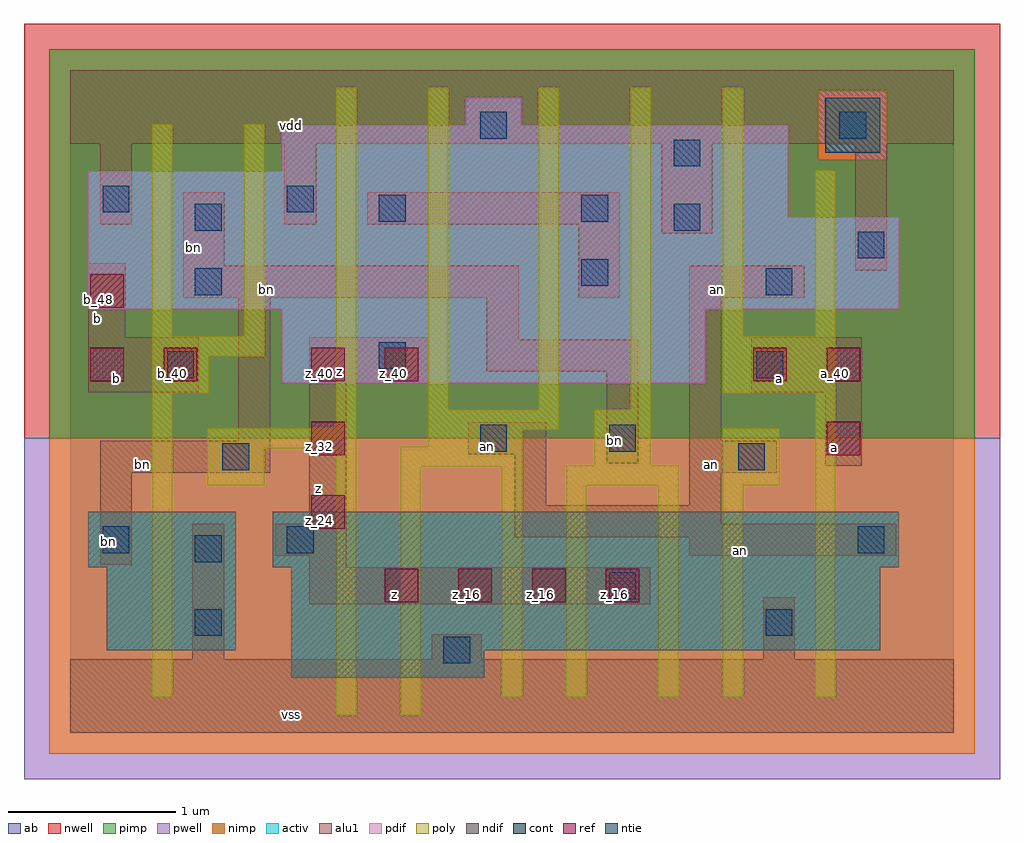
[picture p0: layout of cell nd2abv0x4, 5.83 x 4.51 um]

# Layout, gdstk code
import gdstk
lib = gdstk.Library(unit=1e-6, precision=2.5e-09)
def R(c, l, rs):  # rectangles x0, y0, x1, y1
    for r in rs: c.add(gdstk.rectangle(r[:2], r[2:], *l))
def A(c, l, x, y, w, h, nx, ny, dx, dy):  # array of equal rectangles
    R(c, l, [(x+i*dx, y+j*dy, x+i*dx+w, y+j*dy+h) for i in range(nx) for j in range(ny)])
ndif = (3, 0)
pdif = (4, 0)
ntie = (5, 0)
ref = (24, 0)
cont = (25, 0)
pwell = (41, 0)
nwell = (42, 0)
activ = (43, 0)
pimp = (44, 0)
nimp = (45, 0)
poly = (46, 0)
alu1 = (49, 0)
ab = (63, 0)

nd2abv0x4 = lib.new_cell('nd2abv0x4')
R(nd2abv0x4, ndif, [(1.32,0.33,2.475,0.495), (0.22,0.495,0.99,0.99), (1.32,0.495,4.84,0.99), (0.11,0.99,0.99,1.32), (1.21,0.99,4.95,1.32)])
R(nd2abv0x4, pdif, [(1.265,2.09,3.795,2.53), (0.11,2.53,4.95,3.08), (0.11,3.08,4.29,3.355), (1.265,3.355,4.29,3.63), (2.365,3.63,2.695,3.795)])
R(nd2abv0x4, ntie, [(4.51,3.465,4.84,3.795)])
A(nd2abv0x4, ref, 1.88, 0.78, 0.2, 0.2, 4, 1, 0.44, 0)
A(nd2abv0x4, ref, 1.44, 1.22, 0.2, 0.2, 1, 3, 0, 0.44)
R(nd2abv0x4, ref, [(4.52,1.66,4.72,1.86), (0.12,2.1,0.32,2.3), (0.56,2.1,0.76,2.3), (1.88,2.1,2.08,2.3), (4.08,2.1,4.28,2.3), (4.52,2.1,4.72,2.3), (0.12,2.54,0.32,2.74)])
R(nd2abv0x4, cont, [(2.23,0.415,2.39,0.575), (0.745,0.58,0.905,0.74), (4.155,0.58,4.315,0.74), (3.22,0.8,3.38,0.96), (0.745,1.02,0.905,1.18), (0.195,1.075,0.355,1.235), (1.295,1.075,1.455,1.235), (4.705,1.075,4.865,1.235), (0.91,1.57,1.07,1.73), (3.99,1.57,4.15,1.73), (2.45,1.68,2.61,1.84), (3.22,1.68,3.38,1.84), (0.58,2.12,0.74,2.28), (4.1,2.12,4.26,2.28), (1.845,2.175,2.005,2.335), (0.745,2.615,0.905,2.775), (4.155,2.615,4.315,2.775), (3.055,2.67,3.215,2.83), (4.705,2.835,4.865,2.995), (0.745,3,0.905,3.16), (3.605,3,3.765,3.16), (1.845,3.055,2.005,3.215), (3.055,3.055,3.215,3.215), (0.195,3.11,0.355,3.27), (1.295,3.11,1.455,3.27), (3.605,3.385,3.765,3.545), (2.45,3.55,2.61,3.71), (4.595,3.55,4.755,3.71)])
R(nd2abv0x4, pwell, [(-0.275,-0.275,5.555,1.76)])
R(nd2abv0x4, nwell, [(-0.275,1.76,5.555,4.235)])
R(nd2abv0x4, activ, [(1.32,0.33,2.475,0.495), (0.22,0.495,0.99,0.99), (1.32,0.495,4.84,0.99), (0.11,0.99,0.99,1.32), (1.21,0.99,4.95,1.32), (1.265,2.09,3.795,2.53), (0.11,2.53,4.95,3.08), (0.11,3.08,4.29,3.355), (1.265,3.355,4.29,3.63), (4.51,3.465,4.84,3.795), (2.365,3.63,2.695,3.795)])
R(nd2abv0x4, pimp, [(-0.125,1.76,5.405,3.425), (-0.125,3.425,4.47,3.835), (4.88,3.425,5.405,3.835), (-0.125,3.835,5.405,4.085)])
R(nd2abv0x4, nimp, [(-0.125,-0.125,5.405,1.76), (4.47,3.425,4.88,3.835)])
R(nd2abv0x4, poly, [(1.59,0.105,1.71,1.7), (1.975,0.105,2.095,1.59), (0.49,0.215,0.61,2.03), (2.58,0.215,2.7,1.59), (2.965,0.215,3.085,1.48), (3.515,0.215,3.635,1.48), (3.9,0.215,4.02,1.48), (4.45,0.215,4.57,2.03), (0.82,1.48,1.16,1.7), (2.965,1.48,3.635,1.6), (3.9,1.48,4.24,1.82), (1.975,1.59,2.7,1.71), (3.13,1.6,3.47,1.93), (0.82,1.7,1.71,1.82), (2.14,1.71,2.7,1.81), (2.14,1.81,2.92,1.93), (1.59,1.82,1.71,3.855), (2.14,1.93,2.26,3.855), (2.8,1.93,2.92,3.855), (3.35,1.93,3.47,3.855), (0.49,2.03,0.83,2.25), (3.9,2.03,4.57,2.37), (0.49,2.25,1.16,2.37), (0.49,2.37,0.61,3.635), (1.04,2.37,1.16,3.635), (3.9,2.37,4.02,3.855), (4.45,2.37,4.57,3.36)])
R(nd2abv0x4, alu1, [(0,0,5.28,0.44), (0.73,0.44,0.92,1.25), (2.16,0.44,2.46,0.59), (4.14,0.44,4.33,0.81), (1.43,0.77,3.465,0.99), (1.43,0.99,1.65,1.06), (0.18,1.005,0.37,1.555), (1.225,1.06,1.65,1.25), (3.7,1.06,4.935,1.17), (2.655,1.17,4.935,1.25), (1.43,1.25,1.65,2.09), (2.655,1.25,3.89,1.36), (2.655,1.36,2.845,1.665), (3.7,1.36,3.89,1.555), (0.18,1.555,1.195,1.745), (3.7,1.555,4.22,1.745), (4.51,1.595,4.73,2.035), (3.205,1.61,3.395,2.16), (2.38,1.665,2.845,1.855), (1.005,1.745,1.195,2.6), (3.7,1.745,3.89,2.6), (0.11,2.035,0.77,2.365), (4.07,2.035,4.73,2.365), (1.43,2.09,2.145,2.365), (2.49,2.16,3.395,2.35), (2.49,2.35,2.68,2.6), (0.11,2.365,0.33,2.805), (0.675,2.6,2.68,2.79), (3.04,2.6,3.285,3.04), (3.7,2.6,4.385,2.79), (4.69,2.765,4.88,3.52), (0.675,2.79,0.92,3.23), (3.535,2.985,3.835,3.52), (0.18,3.04,0.37,3.52), (1.28,3.04,1.47,3.52), (1.775,3.04,3.285,3.23), (0,3.52,5.28,3.96)])
R(nd2abv0x4, ab, [(0,0,5.28,3.96)])
nd2abv0x4.add(gdstk.Label('vss', (1.32,0.11), layer=49, texttype=0))
nd2abv0x4.add(gdstk.Label('z', (1.9375,0.825), layer=49, texttype=0))
nd2abv0x4.add(gdstk.Label('an', (4.0075,1.0875), layer=49, texttype=0))
nd2abv0x4.add(gdstk.Label('a', (4.565,1.705), layer=49, texttype=0))
nd2abv0x4.add(gdstk.Label('an', (3.83,1.6025), layer=49, texttype=0))
nd2abv0x4.add(gdstk.Label('a', (4.235,2.1175), layer=49, texttype=0))
nd2abv0x4.add(gdstk.Label('bn', (3.2525,1.7475), layer=49, texttype=0))
nd2abv0x4.add(gdstk.Label('an', (2.495,1.7125), layer=49, texttype=0))
nd2abv0x4.add(gdstk.Label('z', (1.485,1.46), layer=49, texttype=0))
nd2abv0x4.add(gdstk.Label('bn', (0.2275,1.1425), layer=49, texttype=0))
nd2abv0x4.add(gdstk.Label('z', (1.6075,2.1575), layer=49, texttype=0))
nd2abv0x4.add(gdstk.Label('bn', (0.4325,1.6025), layer=49, texttype=0))
nd2abv0x4.add(gdstk.Label('b', (0.275,2.1175), layer=49, texttype=0))
nd2abv0x4.add(gdstk.Label('an', (3.87,2.6475), layer=49, texttype=0))
nd2abv0x4.add(gdstk.Label('bn', (1.175,2.6475), layer=49, texttype=0))
nd2abv0x4.add(gdstk.Label('bn', (0.735,2.9), layer=49, texttype=0))
nd2abv0x4.add(gdstk.Label('b', (0.165,2.475), layer=49, texttype=0))
nd2abv0x4.add(gdstk.Label('vdd', (1.32,3.63), layer=49, texttype=0))
nd2abv0x4.add(gdstk.Label('a_40', (4.57,2.15), layer=24, texttype=0))
nd2abv0x4.add(gdstk.Label('a_32', (4.57,1.71), layer=24, texttype=0))
nd2abv0x4.add(gdstk.Label('a_40', (4.13,2.15), layer=24, texttype=0))
nd2abv0x4.add(gdstk.Label('z_16', (3.25,0.83), layer=24, texttype=0))
nd2abv0x4.add(gdstk.Label('z_16', (2.81,0.83), layer=24, texttype=0))
nd2abv0x4.add(gdstk.Label('z_16', (2.37,0.83), layer=24, texttype=0))
nd2abv0x4.add(gdstk.Label('b_48', (0.17,2.59), layer=24, texttype=0))
nd2abv0x4.add(gdstk.Label('b_40', (0.17,2.15), layer=24, texttype=0))
nd2abv0x4.add(gdstk.Label('z_40', (1.93,2.15), layer=24, texttype=0))
nd2abv0x4.add(gdstk.Label('z_16', (1.93,0.83), layer=24, texttype=0))
nd2abv0x4.add(gdstk.Label('z_40', (1.49,2.15), layer=24, texttype=0))
nd2abv0x4.add(gdstk.Label('z_32', (1.49,1.71), layer=24, texttype=0))
nd2abv0x4.add(gdstk.Label('z_24', (1.49,1.27), layer=24, texttype=0))
nd2abv0x4.add(gdstk.Label('b_40', (0.61,2.15), layer=24, texttype=0))

lib.write_gds('nd2abv0x4.gds')
